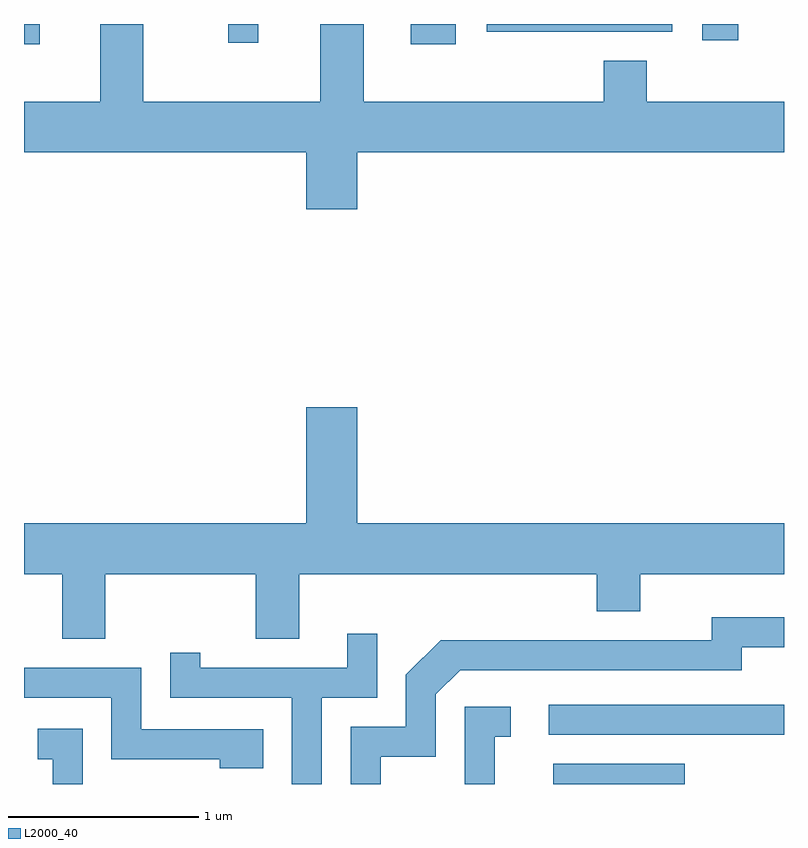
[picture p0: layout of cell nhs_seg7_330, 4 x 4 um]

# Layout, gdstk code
import gdstk
lib = gdstk.Library(unit=1e-6, precision=1e-09)
def R(c, l, rs):  # rectangles x0, y0, x1, y1
    for r in rs: c.add(gdstk.rectangle(r[:2], r[2:], *l))
def P(c, l, *ps):  # polygons
    for p in ps: c.add(gdstk.Polygon(p, *l))
L2000_40 = (2000, 40)

nhs_seg7_330 = lib.new_cell('nhs_seg7_330')
R(nhs_seg7_330, L2000_40, [(196.396,1784.252,197.089,1784.359), (196.373,1784.511,197.611,1784.669), (193.611,1788.146,193.694,1788.252), (195.646,1788.146,195.884,1788.252), (194.686,1788.153,194.844,1788.252), (197.181,1788.166,197.369,1788.252), (196.046,1788.211,197.024,1788.252)])
P(nhs_seg7_330, L2000_40, [(195.364,1787.576),(197.611,1787.576),(197.611,1787.844),(196.889,1787.844),(196.889,1788.059),(196.661,1788.059),(196.661,1787.844),(195.399,1787.844),(195.399,1788.252),(195.171,1788.252),(195.171,1787.844),(194.239,1787.844),(194.239,1788.252),(194.011,1788.252),(194.011,1787.844),(193.611,1787.844),(193.611,1787.576),(195.096,1787.576),(195.096,1787.276),(195.364,1787.276)],
  [(194.039,1785.356),(194.831,1785.356),(194.831,1785.016),(195.059,1785.016),(195.059,1785.356),(196.626,1785.356),(196.626,1785.161),(196.854,1785.161),(196.854,1785.356),(197.611,1785.356),(197.611,1785.624),(195.364,1785.624),(195.364,1786.234),(195.096,1786.234),(195.096,1785.624),(193.611,1785.624),(193.611,1785.356),(193.811,1785.356),(193.811,1785.016),(194.039,1785.016)],
  [(195.489,1784.396),(195.779,1784.396),(195.779,1784.724),(195.907,1784.851),(197.389,1784.851),(197.389,1784.971),(197.611,1784.971),(197.611,1785.129),(197.231,1785.129),(197.231,1785.009),(195.804,1785.009),(195.621,1784.827),(195.621,1784.554),(195.331,1784.554),(195.331,1784.252),(195.489,1784.252)],
  [(195.179,1784.706),(195.469,1784.706),(195.469,1785.043),(195.311,1785.043),(195.311,1784.864),(194.539,1784.864),(194.539,1784.943),(194.381,1784.943),(194.381,1784.706),(195.021,1784.706),(195.021,1784.252),(195.179,1784.252)],
  [(194.869,1784.539),(194.229,1784.539),(194.229,1784.864),(193.611,1784.864),(193.611,1784.706),(194.071,1784.706),(194.071,1784.381),(194.641,1784.381),(194.641,1784.336),(194.869,1784.336)],
  [(196.089,1784.501),(196.173,1784.501),(196.173,1784.659),(195.931,1784.659),(195.931,1784.252),(196.089,1784.252)],
  [(193.919,1784.544),(193.683,1784.544),(193.683,1784.381),(193.761,1784.381),(193.761,1784.252),(193.919,1784.252)])

lib.write_gds('nhs_seg7_330.gds')
